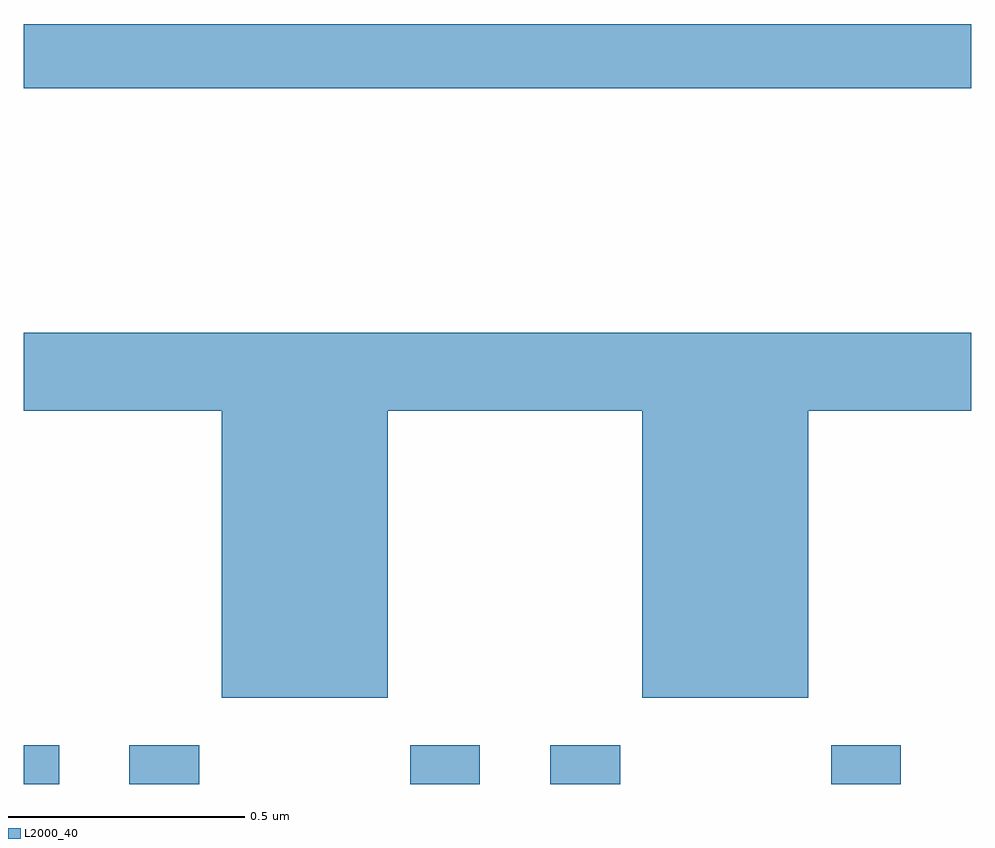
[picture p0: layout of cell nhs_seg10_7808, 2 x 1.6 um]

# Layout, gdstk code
import gdstk
lib = gdstk.Library(unit=1e-6, precision=1e-09)
def R(c, l, rs):  # rectangles x0, y0, x1, y1
    for r in rs: c.add(gdstk.rectangle(r[:2], r[2:], *l))
def P(c, l, *ps):  # polygons
    for p in ps: c.add(gdstk.Polygon(p, *l))
L2000_40 = (2000, 40)

nhs_seg10_7808 = lib.new_cell('nhs_seg10_7808')
R(nhs_seg10_7808, L2000_40, [(208,1327.5,208.075,1327.582), (208.223,1327.5,208.371,1327.582), (208.816,1327.5,208.963,1327.582), (209.111,1327.5,209.259,1327.582), (209.704,1327.5,209.851,1327.582), (208,1328.968,210,1329.104)])
P(nhs_seg10_7808, L2000_40, [(208.768,1328.288),(209.306,1328.288),(209.306,1327.682),(209.656,1327.682),(209.656,1328.288),(210,1328.288),(210,1328.452),(208,1328.452),(208,1328.288),(208.418,1328.288),(208.418,1327.682),(208.768,1327.682)])

lib.write_gds('nhs_seg10_7808.gds')
